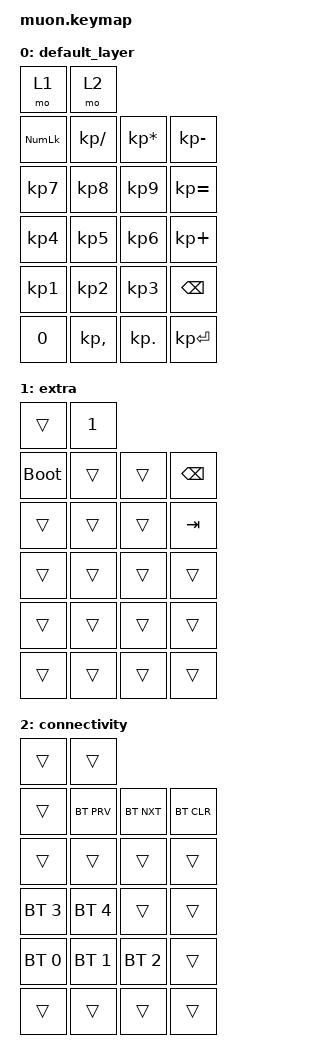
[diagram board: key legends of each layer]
/*
 * Copyright (c) 2024 Brandon Beltran
 *
 * SPDX-License-Identifier: MIT
 */

#include <behaviors.dtsi>
#include <dt-bindings/zmk/bt.h>
#include <dt-bindings/zmk/keys.h>

/ {
    keymap {
        compatible = "zmk,keymap";

        default_layer {
            // -------------------------
            // | L1  | L2  |
            // | NLK |  /  |  *  |  -  |
            // |  7  |  8  |  9  |  =  |
            // |  4  |  5  |  6  |  +  |
            // |  1  |  2  |  3  | BSPC|
            // |  CTL|  WIN|  ALT| ENT |
            // --------------------------

            bindings = <
&mo 1            &mo 2
&kp KP_NUM       &kp KP_SLASH     &kp KP_MULTIPLY  &kp KP_MINUS
&kp KP_NUMBER_7  &kp KP_NUMBER_8  &kp KP_NUMBER_9  &kp KP_EQUAL
&kp KP_NUMBER_4  &kp KP_NUMBER_5  &kp KP_NUMBER_6  &kp KP_PLUS
&kp KP_NUMBER_1  &kp KP_NUMBER_2  &kp KP_NUMBER_3  &kp BSPC
&kp N0           &kp KP_COMMA     &kp KP_DOT       &kp KP_ENTER
            >;
        };

        extra {
            // -------------------------
            // | L1  | L2  |
            // | NLK |  /  |  *  |  -  |
            // |  7  |  8  |  9  |  =  |
            // |  4  |  5  |  6  |  +  |
            // |  1  |  2  |  3  | BSPC|
            // |  CTL|  WIN|  ALT| ENT |
            // --------------------------

            bindings = <
&trans       &kp N1
&bootloader  &trans  &trans  &kp BSPC
&trans       &trans  &trans  &kp TAB
&trans       &trans  &trans  &trans
&trans       &trans  &trans  &trans
&trans       &trans  &trans  &trans
            >;
        };

        connectivity {
            // -------------------------
            // | L1  | L2  |
            // | NLK |  /  |  *  |  -  |
            // |  7  |  8  |  9  |  =  |
            // |  4  |  5  |  6  |  +  |
            // |  1  |  2  |  3  | BSPC|
            // |  CTL|  WIN|  ALT| ENT |
            // --------------------------

            bindings = <
&trans        &trans
&trans        &bt BT_PRV    &bt BT_NXT    &bt BT_CLR
&trans        &trans        &trans        &trans
&bt BT_SEL 3  &bt BT_SEL 4  &trans        &trans
&bt BT_SEL 0  &bt BT_SEL 1  &bt BT_SEL 2  &trans
&trans        &trans        &trans        &trans
            >;
        };
    };
};
